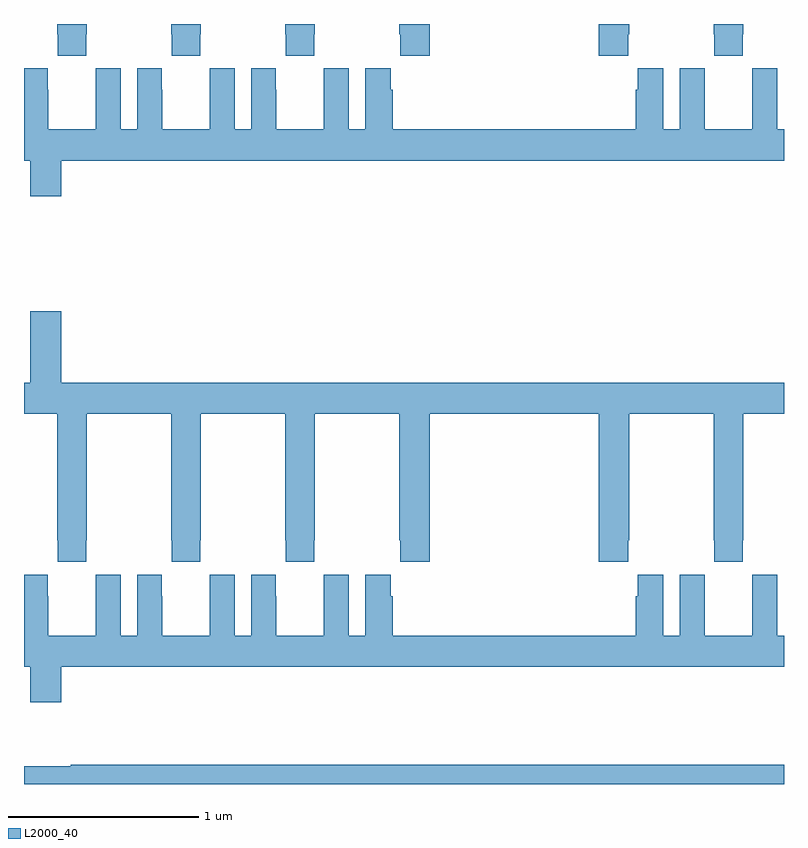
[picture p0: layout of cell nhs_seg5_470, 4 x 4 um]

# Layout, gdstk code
import gdstk
lib = gdstk.Library(unit=1e-6, precision=1e-09)
def P(c, l, *ps):  # polygons
    for p in ps: c.add(gdstk.Polygon(p, *l))
L2000_40 = (2000, 40)

nhs_seg5_470 = lib.new_cell('nhs_seg5_470')
P(nhs_seg5_470, L2000_40, [(144.783,870.745),(144.786,870.745),(144.786,870.799),(144.631,870.799),(144.631,870.745),(144.633,870.745),(144.633,870.633),(144.783,870.633)],
  [(144.179,870.745),(144.186,870.745),(144.186,870.799),(144.026,870.799),(144.026,870.633),(144.179,870.633)],
  [(143.135,870.799),(142.975,870.799),(142.975,870.745),(142.981,870.745),(142.981,870.633),(143.135,870.633)],
  [(142.527,870.745),(142.53,870.745),(142.53,870.799),(142.375,870.799),(142.375,870.745),(142.377,870.745),(142.377,870.633),(142.527,870.633)],
  [(141.927,870.745),(141.93,870.745),(141.93,870.799),(141.775,870.799),(141.775,870.745),(141.777,870.745),(141.777,870.633),(141.927,870.633)],
  [(141.327,870.745),(141.33,870.745),(141.33,870.799),(141.175,870.799),(141.175,870.745),(141.177,870.745),(141.177,870.633),(141.327,870.633)],
  [(141.196,870.08),(145,870.08),(145,870.244),(144.964,870.244),(144.964,870.565),(144.834,870.565),(144.834,870.452),(144.833,870.452),(144.833,870.244),(144.583,870.244),(144.583,870.452),(144.582,870.452),(144.582,870.565),(144.452,870.565),(144.452,870.244),(144.364,870.244),(144.364,870.565),(144.23,870.565),(144.23,870.452),(144.221,870.452),(144.221,870.244),(142.94,870.244),(142.94,870.452),(142.93,870.452),(142.93,870.565),(142.796,870.565),(142.796,870.244),(142.708,870.244),(142.708,870.565),(142.578,870.565),(142.578,870.452),(142.577,870.452),(142.577,870.244),(142.327,870.244),(142.327,870.452),(142.326,870.452),(142.326,870.565),(142.196,870.565),(142.196,870.244),(142.108,870.244),(142.108,870.565),(141.978,870.565),(141.978,870.452),(141.977,870.452),(141.977,870.244),(141.727,870.244),(141.727,870.452),(141.726,870.452),(141.726,870.565),(141.596,870.565),(141.596,870.244),(141.508,870.244),(141.508,870.565),(141.378,870.565),(141.378,870.452),(141.377,870.452),(141.377,870.244),(141.127,870.244),(141.127,870.452),(141.126,870.452),(141.126,870.565),(141,870.565),(141,870.08),(141.032,870.08),(141.032,869.892),(141.196,869.892)],
  [(141.327,868.081),(141.33,868.081),(141.33,868.748),(141.775,868.748),(141.775,868.081),(141.777,868.081),(141.777,867.969),(141.927,867.969),(141.927,868.081),(141.93,868.081),(141.93,868.748),(142.375,868.748),(142.375,868.081),(142.377,868.081),(142.377,867.969),(142.527,867.969),(142.527,868.081),(142.53,868.081),(142.53,868.748),(142.975,868.748),(142.975,868.081),(142.981,868.081),(142.981,867.969),(143.135,867.969),(143.135,868.748),(144.026,868.748),(144.026,867.969),(144.179,867.969),(144.179,868.081),(144.186,868.081),(144.186,868.748),(144.631,868.748),(144.631,868.081),(144.633,868.081),(144.633,867.969),(144.783,867.969),(144.783,868.081),(144.786,868.081),(144.786,868.748),(145,868.748),(145,868.912),(141.196,868.912),(141.196,869.287),(141.032,869.287),(141.032,868.912),(141,868.912),(141,868.748),(141.175,868.748),(141.175,868.081),(141.177,868.081),(141.177,867.969),(141.327,867.969)],
  [(141.196,867.416),(145,867.416),(145,867.58),(144.964,867.58),(144.964,867.901),(144.834,867.901),(144.834,867.788),(144.833,867.788),(144.833,867.58),(144.583,867.58),(144.583,867.788),(144.582,867.788),(144.582,867.901),(144.452,867.901),(144.452,867.58),(144.364,867.58),(144.364,867.901),(144.23,867.901),(144.23,867.788),(144.221,867.788),(144.221,867.58),(142.94,867.58),(142.94,867.788),(142.93,867.788),(142.93,867.901),(142.796,867.901),(142.796,867.58),(142.708,867.58),(142.708,867.901),(142.578,867.901),(142.578,867.788),(142.577,867.788),(142.577,867.58),(142.327,867.58),(142.327,867.788),(142.326,867.788),(142.326,867.901),(142.196,867.901),(142.196,867.58),(142.108,867.58),(142.108,867.901),(141.978,867.901),(141.978,867.788),(141.977,867.788),(141.977,867.58),(141.727,867.58),(141.727,867.788),(141.726,867.788),(141.726,867.901),(141.596,867.901),(141.596,867.58),(141.508,867.58),(141.508,867.901),(141.378,867.901),(141.378,867.788),(141.377,867.788),(141.377,867.58),(141.127,867.58),(141.127,867.788),(141.126,867.788),(141.126,867.901),(141,867.901),(141,867.416),(141.032,867.416),(141.032,867.228),(141.196,867.228)],
  [(145,866.9),(141.245,866.9),(141.245,866.893),(141,866.893),(141,866.799),(145,866.799)])

lib.write_gds('nhs_seg5_470.gds')
